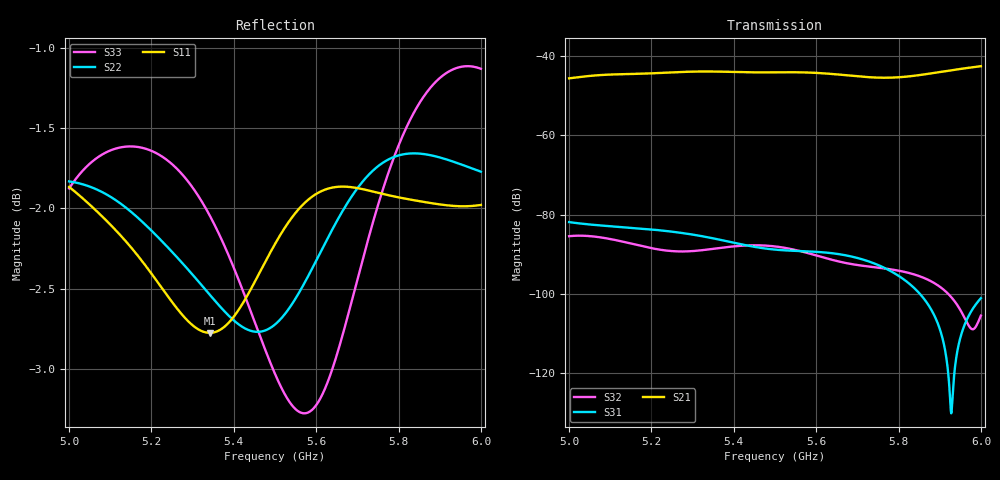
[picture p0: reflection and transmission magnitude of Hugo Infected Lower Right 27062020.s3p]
! TOUCHSTONE file generated by CST MICROWAVE STUDIO
! Date and time: Sat Jun 27 17:12:45 2020
! Project name: Human Lung Lower Right.cst
! Header version: 2018
! Port assignment regex: !\s*Touchstone port\s*([0-9]+)\s*=\s*(CST MWS port|CST DS port)\s*([0-9]+|Zmin|Zmax)\s*\(\"(.*)\"\)(\s*mode\s*([0-9]+))?.*
! Touchstone port assignment:
! Touchstone port 1 = CST MWS port 1 ("")
! Touchstone port 2 = CST MWS port 2 ("")
! Touchstone port 3 = CST MWS port 3 ("")
# GHz S RI R 50
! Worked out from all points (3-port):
!   1001 points, 5 GHz to 6 GHz, reference 50 ohm
!   strongest paths, dB at 5 GHz, 5.25 GHz, 5.5 GHz, 5.75 GHz, 6 GHz:
!     S21: -45.6, -44.1, -44.1, -45.4, -42.5
!     S31: -81.9, -84.3, -88.8, -92.7, -101.1
!     S32: -85.5, -89.2, -88.0, -93.4, -105.5
!   lowest |S11| = -2.8 dB at 5.342 GHz (marker M1), VSWR 6.31, Z = 315 + j13.4 ohm
!   |S11| at or under -10 dB: nowhere
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5  0.8055 -0.0434  0.00192 0.00487  4.07e-05 -7.12e-05
   0.00192 0.00489  0.8096 -0.0222  -3.5e-05 -4.02e-05
   4.08e-05 -6.91e-05  -3.5e-05 -4.02e-05  0.8051 0.0339
5.078  0.789 -0.0458  0.00482 0.00319  -5.83e-05 -4.28e-05
       0.00482 0.00318  0.8034 -0.03  -3.72e-05 3.53e-05
       -5.8e-05 -4.39e-05  -3.73e-05 3.54e-05  0.8252 0.0152
5.172  0.7652 -0.0419  0.00588 -0.00118  -2.99e-05 5.91e-05
       0.00588 -0.00118  0.7871 -0.0361  3.25e-05 2.42e-05
       -3e-05 5.96e-05  3.25e-05 2.42e-05  0.8298 -0.0127
5.342  0.7264 0.01  -0.000484 -0.00639  1.97e-05 -4.74e-05
       -0.000484 -0.00638  0.7462 -0.0218  -1.7e-05 -3.23e-05
       1.97e-05 -4.71e-05  -1.7e-05 -3.23e-05  0.7881 -0.0558
5.5  0.7719 0.061  -0.00616 -0.00107  -2.41e-05 2.66e-05
     -0.00616 -0.00107  0.7298 0.0384  1.3e-05 3.74e-05
     -2.42e-05 2.68e-05  1.3e-05 3.74e-05  0.7049 -0.0262
5.608  0.8023 0.047  -0.00445 0.00419  3.24e-05 9.93e-06
       -0.00446 0.00419  0.7651 0.0732  2.01e-05 -2.18e-05
       3.22e-05 9.7e-06  2.01e-05 -2.18e-05  0.6898 0.0595
5.732  0.8038 0.0279  0.000748 0.00536  -1.81e-05 -1.75e-05
       0.000751 0.00536  0.8122 0.0646  -2.14e-05 -4.56e-06
       -1.78e-05 -1.77e-05  -2.15e-05 -4.56e-06  0.7717 0.1246
5.822  0.7993 0.0249  0.00363 0.00417  -3.69e-06 1.3e-05
       0.00363 0.00417  0.825 0.0424  -1.68e-06 1.84e-05
       -4.07e-06 1.33e-05  -1.67e-06 1.84e-05  0.8363 0.1087
5.909  0.7959 0.0264  0.00624 0.00139  1.71e-06 -2.24e-07
       0.00625 0.00139  0.8229 0.0255  1.1e-05 -2.77e-06
       2.35e-06 -7.28e-07  1.1e-05 -2.76e-06  0.8715 0.0667
6  0.7956 0.0324  0.00631 -0.00403  8.15e-06 4.28e-06
   0.0063 -0.00402  0.8154 0.0166  -1.67e-06 5.05e-06
   6.92e-06 5.43e-06  -1.66e-06 5.03e-06  0.8779 0.0155
